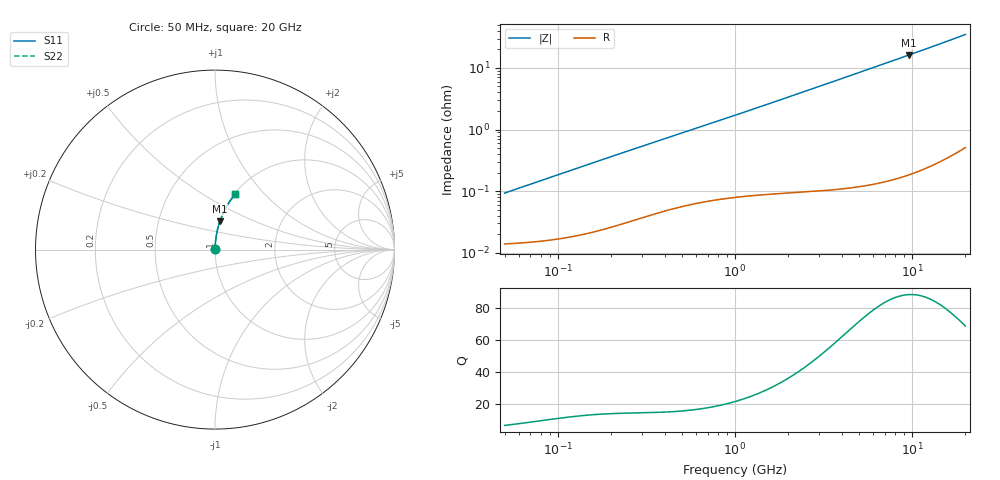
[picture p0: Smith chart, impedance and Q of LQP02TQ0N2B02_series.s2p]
!Murata Part Number: LQP02TQ0N2B02
!These Parameters are Measured in Series Mode Connection
!  o--[Z]--o
!Port1  Port2
!  o-------o
!Freq. Start=50[MHz] Stop=20[GHz], 401[Steps]
# Hz S RI R 50
!Freq.(Hz) S11(Real) S11(Imag) S21(Real) S21(Imag) S12(Real) S12(Imag) S22(Real) S22(Imag)
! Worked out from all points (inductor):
!   401 points, 50 MHz to 20 GHz, reference 50 ohm
!   read as one part in series: L = 294 pH near 51.52 MHz
!   highest Q = 88 at 9.6 GHz (marker M1), where L = 269 pH
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5e7  0.00014 0.000923  0.9999 -0.000923  0.9999 -0.000923  0.00014 0.000923
5.152053e7  0.000141 0.000951  0.9999 -0.000951  0.9999 -0.000951  0.000141 0.000951
1.364002e8  0.000203 0.0025  0.9998 -0.0025  0.9998 -0.0025  0.000203 0.0025
2.269813e8  0.000307 0.00411  0.9997 -0.00411  0.9997 -0.00411  0.000307 0.00411
3.721004e8  0.000491 0.0066  0.9995 -0.0066  0.9995 -0.0066  0.000491 0.0066
6.380365e8  0.000774 0.011  0.9992 -0.011  0.9992 -0.011  0.000774 0.011
1e9  0.00108 0.017  0.9989 -0.017  0.9989 -0.017  0.00108 0.017
1.714689e9  0.00174 0.0288  0.9983 -0.0288  0.9983 -0.0288  0.00174 0.0288
2.179053e9  0.00228 0.0365  0.9977 -0.0365  0.9977 -0.0365  0.00228 0.0365
2.728004e9  0.00308 0.0456  0.9969 -0.0456  0.9969 -0.0456  0.00308 0.0456
3.626126e9  0.00473 0.0605  0.9953 -0.0605  0.9953 -0.0605  0.00473 0.0605
4.677679e9  0.00725 0.0778  0.9928 -0.0778  0.9928 -0.0778  0.00725 0.0778
5.944466e9  0.0111 0.0986  0.9889 -0.0986  0.9889 -0.0986  0.0111 0.0986
7.442007e9  0.0168 0.1229  0.9832 -0.1229  0.9832 -0.1229  0.0168 0.1229
8.516016e9  0.0217 0.1402  0.9783 -0.1402  0.9783 -0.1402  0.0217 0.1402
9.600142e9  0.0273 0.1574  0.9727 -0.1574  0.9727 -0.1574  0.0273 0.1574
1.183995e10  0.0409 0.1923  0.9591 -0.1923  0.9591 -0.1923  0.0409 0.1923
1.417136e10  0.0578 0.2274  0.9422 -0.2274  0.9422 -0.2274  0.0578 0.2274
1.670968e10  0.0794 0.264  0.9206 -0.264  0.9206 -0.264  0.0794 0.264
1.800918e10  0.0917 0.2819  0.9083 -0.2819  0.9083 -0.2819  0.0917 0.2819
1.940974e10  0.1059 0.3006  0.8941 -0.3006  0.8941 -0.3006  0.1059 0.3006
2e10  0.1121 0.3083  0.8879 -0.3083  0.8879 -0.3083  0.1121 0.3083
